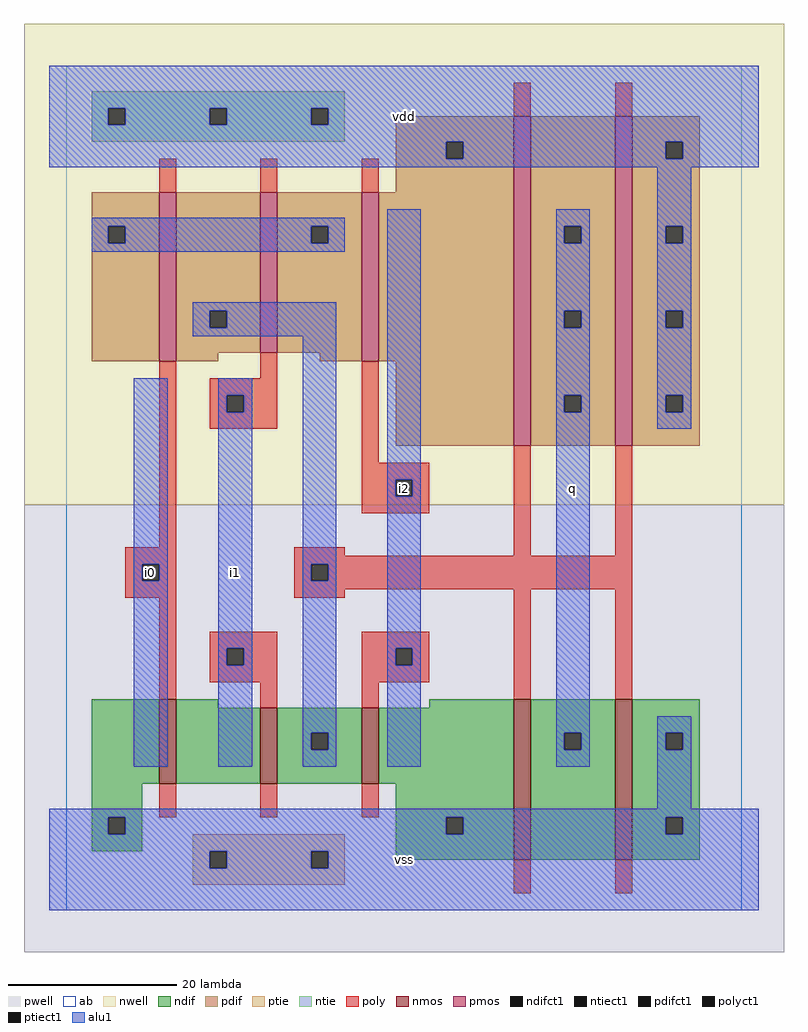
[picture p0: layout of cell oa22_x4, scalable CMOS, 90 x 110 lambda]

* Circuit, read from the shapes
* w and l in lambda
.subckt oa22_x4 i0 i1 i2 q vdd vss
M1 n1 i0 vss vss nfet w=10 l=2
M2 n2 i1 n1 vss nfet w=9 l=2
M3 vss i2 n2 vss nfet w=9 l=2
M4 q n2 vss vss nfet w=19 l=2 m=2
M5 n2 i0 n3 vdd pfet w=20 l=2
M6 n3 i1 n2 vdd pfet w=19 l=2
M7 vdd i2 n3 vdd pfet w=20 l=2
M8 q n2 vdd vdd pfet w=39 l=2 m=2
.ends

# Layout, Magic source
magic
tech scmos
<< ab >>
rect 0 0 80 100
<< nwell >>
rect -5 48 85 105
<< pwell >>
rect -5 -5 85 48
<< poly >>
rect 53 94 55 98
rect 65 94 67 98
rect 11 85 13 89
rect 23 85 25 89
rect 35 85 37 89
rect 11 43 13 65
rect 23 63 25 66
rect 17 61 25 63
rect 17 59 19 61
rect 21 59 25 61
rect 17 57 25 59
rect 35 53 37 65
rect 35 51 43 53
rect 35 49 39 51
rect 41 49 43 51
rect 35 47 43 49
rect 7 41 13 43
rect 7 39 9 41
rect 11 39 13 41
rect 7 37 13 39
rect 27 42 33 43
rect 53 42 55 55
rect 65 42 67 55
rect 27 41 67 42
rect 27 39 29 41
rect 31 39 67 41
rect 27 38 67 39
rect 27 37 33 38
rect 11 25 13 37
rect 17 31 25 33
rect 17 29 19 31
rect 21 29 25 31
rect 17 27 25 29
rect 23 24 25 27
rect 35 31 43 33
rect 35 29 39 31
rect 41 29 43 31
rect 35 27 43 29
rect 35 24 37 27
rect 53 25 55 38
rect 65 25 67 38
rect 11 11 13 15
rect 23 11 25 15
rect 35 11 37 15
rect 53 2 55 6
rect 65 2 67 6
<< ndif >>
rect 3 15 11 25
rect 13 24 18 25
rect 43 24 53 25
rect 13 15 23 24
rect 25 21 35 24
rect 25 19 29 21
rect 31 19 35 21
rect 25 15 35 19
rect 37 15 53 24
rect 3 11 9 15
rect 39 11 53 15
rect 3 9 5 11
rect 7 9 9 11
rect 39 9 45 11
rect 47 9 53 11
rect 3 7 9 9
rect 39 6 53 9
rect 55 21 65 25
rect 55 19 59 21
rect 61 19 65 21
rect 55 6 65 19
rect 67 21 75 25
rect 67 19 71 21
rect 73 19 75 21
rect 67 11 75 19
rect 67 9 71 11
rect 73 9 75 11
rect 67 6 75 9
<< pdif >>
rect 39 91 53 94
rect 39 89 45 91
rect 47 89 53 91
rect 39 85 53 89
rect 3 81 11 85
rect 3 79 5 81
rect 7 79 11 81
rect 3 65 11 79
rect 13 71 23 85
rect 13 69 17 71
rect 19 69 23 71
rect 13 66 23 69
rect 25 81 35 85
rect 25 79 29 81
rect 31 79 35 81
rect 25 66 35 79
rect 13 65 18 66
rect 30 65 35 66
rect 37 65 53 85
rect 39 55 53 65
rect 55 81 65 94
rect 55 79 59 81
rect 61 79 65 81
rect 55 71 65 79
rect 55 69 59 71
rect 61 69 65 71
rect 55 61 65 69
rect 55 59 59 61
rect 61 59 65 61
rect 55 55 65 59
rect 67 91 75 94
rect 67 89 71 91
rect 73 89 75 91
rect 67 81 75 89
rect 67 79 71 81
rect 73 79 75 81
rect 67 71 75 79
rect 67 69 71 71
rect 73 69 75 71
rect 67 61 75 69
rect 67 59 71 61
rect 73 59 75 61
rect 67 55 75 59
<< alu1 >>
rect -2 95 82 100
rect -2 93 5 95
rect 7 93 17 95
rect 19 93 29 95
rect 31 93 82 95
rect -2 91 82 93
rect -2 89 45 91
rect 47 89 71 91
rect 73 89 82 91
rect -2 88 82 89
rect 3 81 33 82
rect 3 79 5 81
rect 7 79 29 81
rect 31 79 33 81
rect 3 78 33 79
rect 15 71 32 72
rect 15 69 17 71
rect 19 69 32 71
rect 15 68 32 69
rect 8 41 12 63
rect 8 39 9 41
rect 11 39 12 41
rect 8 17 12 39
rect 18 61 22 63
rect 18 59 19 61
rect 21 59 22 61
rect 18 31 22 59
rect 18 29 19 31
rect 21 29 22 31
rect 18 17 22 29
rect 28 41 32 68
rect 28 39 29 41
rect 31 39 32 41
rect 28 21 32 39
rect 28 19 29 21
rect 31 19 32 21
rect 28 17 32 19
rect 38 51 42 83
rect 38 49 39 51
rect 41 49 42 51
rect 38 31 42 49
rect 38 29 39 31
rect 41 29 42 31
rect 38 17 42 29
rect 58 81 62 83
rect 58 79 59 81
rect 61 79 62 81
rect 58 71 62 79
rect 58 69 59 71
rect 61 69 62 71
rect 58 61 62 69
rect 58 59 59 61
rect 61 59 62 61
rect 58 21 62 59
rect 70 81 74 88
rect 70 79 71 81
rect 73 79 74 81
rect 70 71 74 79
rect 70 69 71 71
rect 73 69 74 71
rect 70 61 74 69
rect 70 59 71 61
rect 73 59 74 61
rect 70 57 74 59
rect 58 19 59 21
rect 61 19 62 21
rect 58 17 62 19
rect 70 21 74 23
rect 70 19 71 21
rect 73 19 74 21
rect 70 12 74 19
rect -2 11 82 12
rect -2 9 5 11
rect 7 9 45 11
rect 47 9 71 11
rect 73 9 82 11
rect -2 7 82 9
rect -2 5 17 7
rect 19 5 29 7
rect 31 5 82 7
rect -2 0 82 5
<< ptie >>
rect 15 7 33 9
rect 15 5 17 7
rect 19 5 29 7
rect 31 5 33 7
rect 15 3 33 5
<< ntie >>
rect 3 95 33 97
rect 3 93 5 95
rect 7 93 17 95
rect 19 93 29 95
rect 31 93 33 95
rect 3 91 33 93
<< nmos >>
rect 11 15 13 25
rect 23 15 25 24
rect 35 15 37 24
rect 53 6 55 25
rect 65 6 67 25
<< pmos >>
rect 11 65 13 85
rect 23 66 25 85
rect 35 65 37 85
rect 53 55 55 94
rect 65 55 67 94
<< polyct1 >>
rect 19 59 21 61
rect 39 49 41 51
rect 9 39 11 41
rect 29 39 31 41
rect 19 29 21 31
rect 39 29 41 31
<< ndifct1 >>
rect 29 19 31 21
rect 5 9 7 11
rect 45 9 47 11
rect 59 19 61 21
rect 71 19 73 21
rect 71 9 73 11
<< ntiect1 >>
rect 5 93 7 95
rect 17 93 19 95
rect 29 93 31 95
<< ptiect1 >>
rect 17 5 19 7
rect 29 5 31 7
<< pdifct1 >>
rect 45 89 47 91
rect 5 79 7 81
rect 17 69 19 71
rect 29 79 31 81
rect 59 79 61 81
rect 59 69 61 71
rect 59 59 61 61
rect 71 89 73 91
rect 71 79 73 81
rect 71 69 73 71
rect 71 59 73 61
<< labels >>
rlabel polyct1 10 40 10 40 6 i0
rlabel alu1 20 40 20 40 6 i1
rlabel alu1 40 6 40 6 6 vss
rlabel polyct1 40 50 40 50 6 i2
rlabel alu1 40 94 40 94 6 vdd
rlabel alu1 60 50 60 50 6 q
<< end >>
